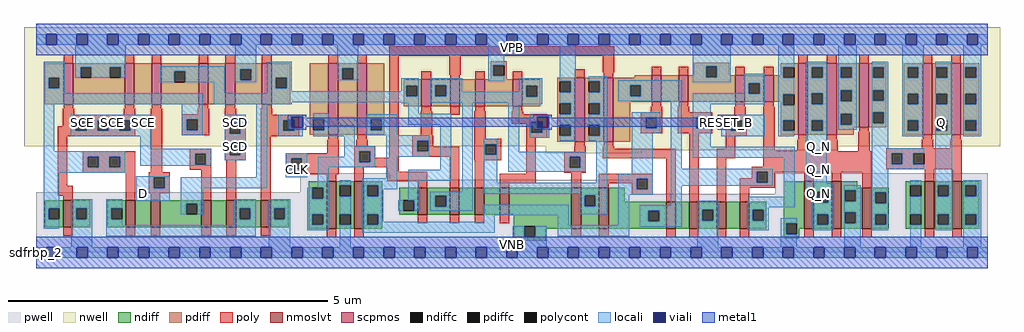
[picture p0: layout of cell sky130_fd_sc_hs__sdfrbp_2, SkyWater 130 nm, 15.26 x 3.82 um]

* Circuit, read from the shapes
.subckt sky130_fd_sc_hs__sdfrbp_2 CLK D RESET_B SCD SCE VGND VNB VPB VPWR Q Q_N
XM1 VGND SCE n1 VNB sky130_fd_pr__nfet_01v8_lvt w=0.42 l=0.15
XM2 n2 n1 n3 VNB sky130_fd_pr__nfet_01v8_lvt w=0.42 l=0.15
XM3 n4 D n2 VNB sky130_fd_pr__nfet_01v8_lvt w=0.42 l=0.15
XM4 n5 SCE n4 VNB sky130_fd_pr__nfet_01v8_lvt w=0.42 l=0.15
XM5 n3 SCD n5 VNB sky130_fd_pr__nfet_01v8_lvt w=0.42 l=0.15
XM6 VGND RESET_B n3 VNB sky130_fd_pr__nfet_01v8_lvt w=0.42 l=0.15
XM7 VGND CLK n6 VNB sky130_fd_pr__nfet_01v8_lvt w=0.74 l=0.15
XM8 n7 n6 VGND VNB sky130_fd_pr__nfet_01v8_lvt w=0.74 l=0.15
XM9 n8 n6 n4 VNB sky130_fd_pr__nfet_01v8_lvt w=0.42 l=0.15
XM10 n9 n7 n8 VNB sky130_fd_pr__nfet_01v8_lvt w=0.42 l=0.15
XM11 n10 n11 n9 VNB sky130_fd_pr__nfet_01v8_lvt w=0.42 l=0.15
XM12 VGND RESET_B n10 VNB sky130_fd_pr__nfet_01v8_lvt w=0.42 l=0.15
XM13 n11 n8 VGND VNB sky130_fd_pr__nfet_01v8_lvt w=0.64 l=0.15
XM14 n12 n7 n11 VNB sky130_fd_pr__nfet_01v8_lvt w=0.64 l=0.15
XM15 n13 n6 n12 VNB sky130_fd_pr__nfet_01v8_lvt w=0.42 l=0.15
XM16 VGND n14 n13 VNB sky130_fd_pr__nfet_01v8_lvt w=0.42 l=0.15
XM17 n15 RESET_B VGND VNB sky130_fd_pr__nfet_01v8_lvt w=0.42 l=0.15
XM18 n14 n12 n15 VNB sky130_fd_pr__nfet_01v8_lvt w=0.42 l=0.15
XM19 Q_N n12 VGND VNB sky130_fd_pr__nfet_01v8_lvt w=0.74 l=0.15 m=2
XM20 n16 n12 VGND VNB sky130_fd_pr__nfet_01v8_lvt w=0.64 l=0.15
XM21 Q n16 VGND VNB sky130_fd_pr__nfet_01v8_lvt w=0.74 l=0.15 m=2
XM22 VPWR SCE n1 VPB sky130_fd_pr__pfet_01v8 w=0.64 l=0.15
XM23 n17 SCE VPWR VPB sky130_fd_pr__pfet_01v8 w=0.64 l=0.15
XM24 n4 D n17 VPB sky130_fd_pr__pfet_01v8 w=0.64 l=0.15
XM25 n18 n1 n4 VPB sky130_fd_pr__pfet_01v8 w=0.64 l=0.15
XM26 VPWR SCD n18 VPB sky130_fd_pr__pfet_01v8 w=0.64 l=0.15
XM27 n4 RESET_B VPWR VPB sky130_fd_pr__pfet_01v8 w=0.64 l=0.15
XM28 VPWR CLK n6 VPB sky130_fd_pr__pfet_01v8 w=1.12 l=0.15
XM29 n7 n6 VPWR VPB sky130_fd_pr__pfet_01v8 w=1.12 l=0.15
XM30 n8 n7 n4 VPB sky130_fd_pr__pfet_01v8 w=0.42 l=0.15
XM31 n19 n6 n8 VPB sky130_fd_pr__pfet_01v8 w=0.42 l=0.15
XM32 VPWR n11 n19 VPB sky130_fd_pr__pfet_01v8 w=0.42 l=0.15
XM33 n8 RESET_B VPWR VPB sky130_fd_pr__pfet_01v8 w=0.42 l=0.15
XM34 n11 n8 VPWR VPB sky130_fd_pr__pfet_01v8 w=1 l=0.15
XM35 n12 n6 n11 VPB sky130_fd_pr__pfet_01v8 w=1 l=0.15
XM36 n20 n7 n12 VPB sky130_fd_pr__pfet_01v8 w=0.42 l=0.15
XM37 VPWR n14 n20 VPB sky130_fd_pr__pfet_01v8 w=0.42 l=0.15
XM38 n14 RESET_B VPWR VPB sky130_fd_pr__pfet_01v8 w=0.42 l=0.15
XM39 VPWR n12 n14 VPB sky130_fd_pr__pfet_01v8 w=0.42 l=0.15
XM40 Q_N n12 VPWR VPB sky130_fd_pr__pfet_01v8 w=1.12 l=0.15 m=2
XM41 n16 n12 VPWR VPB sky130_fd_pr__pfet_01v8 w=1 l=0.15
XM42 Q n16 VPWR VPB sky130_fd_pr__pfet_01v8 w=1.12 l=0.15 m=2
.ends

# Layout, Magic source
magic
tech sky130A
magscale 1 2
<< nwell >>
rect -38 332 3014 704
rect 1594 319 2508 332
rect 1594 311 1894 319
<< pwell >>
rect 826 228 1108 248
rect 826 189 1866 228
rect 1 184 1866 189
rect 2311 184 2975 248
rect 1 49 2975 184
rect 0 0 2976 49
<< scpmos >>
rect 86 464 116 592
rect 277 464 307 592
rect 361 464 391 592
rect 508 464 538 592
rect 592 464 622 592
rect 706 464 736 592
rect 914 368 944 592
rect 1004 368 1034 592
rect 1205 457 1235 541
rect 1295 457 1325 541
rect 1373 457 1403 541
rect 1490 457 1520 541
rect 1685 347 1715 547
rect 1775 347 1805 547
rect 1925 471 1955 555
rect 2009 471 2039 555
rect 2186 471 2216 555
rect 2276 471 2306 555
rect 2383 368 2413 592
rect 2473 368 2503 592
rect 2574 392 2604 592
rect 2772 368 2802 592
rect 2862 368 2892 592
<< nmoslvt >>
rect 84 79 114 163
rect 280 79 310 163
rect 358 79 388 163
rect 517 79 547 163
rect 595 79 625 163
rect 703 79 733 163
rect 909 74 939 222
rect 995 74 1025 222
rect 1193 118 1223 202
rect 1293 118 1323 202
rect 1371 118 1401 202
rect 1449 118 1479 202
rect 1674 74 1704 202
rect 1760 74 1790 202
rect 1970 74 2000 158
rect 2042 74 2072 158
rect 2128 74 2158 158
rect 2200 74 2230 158
rect 2402 74 2432 222
rect 2488 74 2518 222
rect 2583 74 2613 202
rect 2779 74 2809 222
rect 2865 74 2895 222
<< ndiff >>
rect 852 202 909 222
rect 852 168 864 202
rect 898 168 909 202
rect 27 138 84 163
rect 27 104 39 138
rect 73 104 84 138
rect 27 79 84 104
rect 114 138 169 163
rect 114 104 125 138
rect 159 104 169 138
rect 114 79 169 104
rect 223 138 280 163
rect 223 104 235 138
rect 269 104 280 138
rect 223 79 280 104
rect 310 79 358 163
rect 388 153 517 163
rect 388 119 470 153
rect 504 119 517 153
rect 388 79 517 119
rect 547 79 595 163
rect 625 138 703 163
rect 625 104 636 138
rect 670 104 703 138
rect 625 79 703 104
rect 733 138 790 163
rect 733 104 744 138
rect 778 104 790 138
rect 733 79 790 104
rect 852 120 909 168
rect 852 86 864 120
rect 898 86 909 120
rect 852 74 909 86
rect 939 210 995 222
rect 939 176 950 210
rect 984 176 995 210
rect 939 120 995 176
rect 939 86 950 120
rect 984 86 995 120
rect 939 74 995 86
rect 1025 210 1082 222
rect 1025 176 1036 210
rect 1070 176 1082 210
rect 1025 120 1082 176
rect 1025 86 1036 120
rect 1070 86 1082 120
rect 1136 164 1193 202
rect 1136 130 1148 164
rect 1182 130 1193 164
rect 1136 118 1193 130
rect 1223 177 1293 202
rect 1223 143 1248 177
rect 1282 143 1293 177
rect 1223 118 1293 143
rect 1323 118 1371 202
rect 1401 118 1449 202
rect 1479 118 1674 202
rect 1025 74 1082 86
rect 1494 82 1674 118
rect 1494 48 1526 82
rect 1560 74 1674 82
rect 1704 179 1760 202
rect 1704 145 1715 179
rect 1749 145 1760 179
rect 1704 74 1760 145
rect 1790 158 1840 202
rect 1790 131 1970 158
rect 1790 97 1914 131
rect 1948 97 1970 131
rect 1790 74 1970 97
rect 2000 74 2042 158
rect 2072 133 2128 158
rect 2072 99 2083 133
rect 2117 99 2128 133
rect 2072 74 2128 99
rect 2158 74 2200 158
rect 2230 133 2283 158
rect 2230 99 2241 133
rect 2275 99 2283 133
rect 2230 74 2283 99
rect 2337 91 2402 222
rect 1560 48 1593 74
rect 2337 57 2345 91
rect 2379 74 2402 91
rect 2432 190 2488 222
rect 2432 156 2443 190
rect 2477 156 2488 190
rect 2432 120 2488 156
rect 2432 86 2443 120
rect 2477 86 2488 120
rect 2432 74 2488 86
rect 2518 202 2568 222
rect 2720 210 2779 222
rect 2518 194 2583 202
rect 2518 160 2529 194
rect 2563 160 2583 194
rect 2518 126 2583 160
rect 2518 92 2529 126
rect 2563 92 2583 126
rect 2518 74 2583 92
rect 2613 188 2666 202
rect 2613 154 2624 188
rect 2658 154 2666 188
rect 2613 120 2666 154
rect 2613 86 2624 120
rect 2658 86 2666 120
rect 2613 74 2666 86
rect 2720 176 2734 210
rect 2768 176 2779 210
rect 2720 120 2779 176
rect 2720 86 2734 120
rect 2768 86 2779 120
rect 2720 74 2779 86
rect 2809 210 2865 222
rect 2809 176 2820 210
rect 2854 176 2865 210
rect 2809 120 2865 176
rect 2809 86 2820 120
rect 2854 86 2865 120
rect 2809 74 2865 86
rect 2895 210 2949 222
rect 2895 176 2906 210
rect 2940 176 2949 210
rect 2895 120 2949 176
rect 2895 86 2906 120
rect 2940 86 2949 120
rect 2895 74 2949 86
rect 2379 57 2387 74
rect 1494 36 1593 48
rect 2337 45 2387 57
<< pdiff >>
rect 27 547 86 592
rect 27 513 39 547
rect 73 513 86 547
rect 27 464 86 513
rect 116 580 277 592
rect 116 546 139 580
rect 173 546 230 580
rect 264 546 277 580
rect 116 464 277 546
rect 307 464 361 592
rect 391 566 508 592
rect 391 532 432 566
rect 466 532 508 566
rect 391 464 508 532
rect 538 464 592 592
rect 622 573 706 592
rect 622 539 639 573
rect 673 539 706 573
rect 622 464 706 539
rect 736 547 795 592
rect 736 513 749 547
rect 783 513 795 547
rect 736 464 795 513
rect 855 417 914 592
rect 855 383 867 417
rect 901 383 914 417
rect 855 368 914 383
rect 944 576 1004 592
rect 944 542 957 576
rect 991 542 1004 576
rect 944 368 1004 542
rect 1034 416 1089 592
rect 1034 382 1047 416
rect 1081 382 1089 416
rect 1034 368 1089 382
rect 1421 586 1472 598
rect 1421 552 1430 586
rect 1464 552 1472 586
rect 1421 541 1472 552
rect 2057 582 2168 594
rect 2057 555 2095 582
rect 1872 547 1925 555
rect 1149 522 1205 541
rect 1149 488 1158 522
rect 1192 488 1205 522
rect 1149 457 1205 488
rect 1235 523 1295 541
rect 1235 489 1248 523
rect 1282 489 1295 523
rect 1235 457 1295 489
rect 1325 457 1373 541
rect 1403 457 1490 541
rect 1520 521 1576 541
rect 1520 487 1533 521
rect 1567 487 1576 521
rect 1520 457 1576 487
rect 1630 535 1685 547
rect 1630 501 1638 535
rect 1672 501 1685 535
rect 1630 467 1685 501
rect 1630 433 1638 467
rect 1672 433 1685 467
rect 1630 399 1685 433
rect 1630 365 1638 399
rect 1672 365 1685 399
rect 1630 347 1685 365
rect 1715 535 1775 547
rect 1715 501 1728 535
rect 1762 501 1775 535
rect 1715 467 1775 501
rect 1715 433 1728 467
rect 1762 433 1775 467
rect 1715 399 1775 433
rect 1715 365 1728 399
rect 1762 365 1775 399
rect 1715 347 1775 365
rect 1805 523 1925 547
rect 1805 489 1857 523
rect 1891 489 1925 523
rect 1805 471 1925 489
rect 1955 471 2009 555
rect 2039 548 2095 555
rect 2129 555 2168 582
rect 2328 580 2383 592
rect 2328 555 2336 580
rect 2129 548 2186 555
rect 2039 471 2186 548
rect 2216 530 2276 555
rect 2216 496 2229 530
rect 2263 496 2276 530
rect 2216 471 2276 496
rect 2306 546 2336 555
rect 2370 546 2383 580
rect 2306 495 2383 546
rect 2306 471 2336 495
rect 1805 347 1858 471
rect 2328 461 2336 471
rect 2370 461 2383 495
rect 2328 414 2383 461
rect 2328 380 2336 414
rect 2370 380 2383 414
rect 2328 368 2383 380
rect 2413 580 2473 592
rect 2413 546 2426 580
rect 2460 546 2473 580
rect 2413 498 2473 546
rect 2413 464 2426 498
rect 2460 464 2473 498
rect 2413 414 2473 464
rect 2413 380 2426 414
rect 2460 380 2473 414
rect 2413 368 2473 380
rect 2503 580 2574 592
rect 2503 546 2516 580
rect 2550 546 2574 580
rect 2503 507 2574 546
rect 2503 473 2516 507
rect 2550 473 2574 507
rect 2503 434 2574 473
rect 2503 400 2516 434
rect 2550 400 2574 434
rect 2503 392 2574 400
rect 2604 580 2659 592
rect 2604 546 2617 580
rect 2651 546 2659 580
rect 2604 508 2659 546
rect 2604 474 2617 508
rect 2651 474 2659 508
rect 2604 438 2659 474
rect 2604 404 2617 438
rect 2651 404 2659 438
rect 2604 392 2659 404
rect 2713 580 2772 592
rect 2713 546 2725 580
rect 2759 546 2772 580
rect 2713 497 2772 546
rect 2713 463 2725 497
rect 2759 463 2772 497
rect 2713 414 2772 463
rect 2503 368 2556 392
rect 2713 380 2725 414
rect 2759 380 2772 414
rect 2713 368 2772 380
rect 2802 580 2862 592
rect 2802 546 2815 580
rect 2849 546 2862 580
rect 2802 497 2862 546
rect 2802 463 2815 497
rect 2849 463 2862 497
rect 2802 414 2862 463
rect 2802 380 2815 414
rect 2849 380 2862 414
rect 2802 368 2862 380
rect 2892 580 2949 592
rect 2892 546 2905 580
rect 2939 546 2949 580
rect 2892 497 2949 546
rect 2892 463 2905 497
rect 2939 463 2949 497
rect 2892 414 2949 463
rect 2892 380 2905 414
rect 2939 380 2949 414
rect 2892 368 2949 380
<< ndiffc >>
rect 864 168 898 202
rect 39 104 73 138
rect 125 104 159 138
rect 235 104 269 138
rect 470 119 504 153
rect 636 104 670 138
rect 744 104 778 138
rect 864 86 898 120
rect 950 176 984 210
rect 950 86 984 120
rect 1036 176 1070 210
rect 1036 86 1070 120
rect 1148 130 1182 164
rect 1248 143 1282 177
rect 1526 48 1560 82
rect 1715 145 1749 179
rect 1914 97 1948 131
rect 2083 99 2117 133
rect 2241 99 2275 133
rect 2345 57 2379 91
rect 2443 156 2477 190
rect 2443 86 2477 120
rect 2529 160 2563 194
rect 2529 92 2563 126
rect 2624 154 2658 188
rect 2624 86 2658 120
rect 2734 176 2768 210
rect 2734 86 2768 120
rect 2820 176 2854 210
rect 2820 86 2854 120
rect 2906 176 2940 210
rect 2906 86 2940 120
<< pdiffc >>
rect 39 513 73 547
rect 139 546 173 580
rect 230 546 264 580
rect 432 532 466 566
rect 639 539 673 573
rect 749 513 783 547
rect 867 383 901 417
rect 957 542 991 576
rect 1047 382 1081 416
rect 1430 552 1464 586
rect 1158 488 1192 522
rect 1248 489 1282 523
rect 1533 487 1567 521
rect 1638 501 1672 535
rect 1638 433 1672 467
rect 1638 365 1672 399
rect 1728 501 1762 535
rect 1728 433 1762 467
rect 1728 365 1762 399
rect 1857 489 1891 523
rect 2095 548 2129 582
rect 2229 496 2263 530
rect 2336 546 2370 580
rect 2336 461 2370 495
rect 2336 380 2370 414
rect 2426 546 2460 580
rect 2426 464 2460 498
rect 2426 380 2460 414
rect 2516 546 2550 580
rect 2516 473 2550 507
rect 2516 400 2550 434
rect 2617 546 2651 580
rect 2617 474 2651 508
rect 2617 404 2651 438
rect 2725 546 2759 580
rect 2725 463 2759 497
rect 2725 380 2759 414
rect 2815 546 2849 580
rect 2815 463 2849 497
rect 2815 380 2849 414
rect 2905 546 2939 580
rect 2905 463 2939 497
rect 2905 380 2939 414
<< poly >>
rect 86 592 116 618
rect 277 592 307 618
rect 361 592 391 618
rect 508 592 538 618
rect 592 592 622 618
rect 706 592 736 618
rect 914 592 944 618
rect 1004 592 1034 618
rect 1104 615 1808 645
rect 86 449 116 464
rect 277 449 307 464
rect 361 449 391 464
rect 508 449 538 464
rect 592 449 622 464
rect 706 449 736 464
rect 83 430 119 449
rect 274 430 310 449
rect 83 414 310 430
rect 83 394 124 414
rect 67 380 124 394
rect 158 380 192 414
rect 226 380 260 414
rect 294 380 310 414
rect 67 364 310 380
rect 67 208 97 364
rect 145 300 310 316
rect 145 266 161 300
rect 195 266 229 300
rect 263 266 310 300
rect 145 250 310 266
rect 358 251 394 449
rect 505 432 541 449
rect 455 416 541 432
rect 455 382 471 416
rect 505 382 541 416
rect 455 366 541 382
rect 589 422 625 449
rect 703 430 739 449
rect 589 406 655 422
rect 589 372 605 406
rect 639 372 655 406
rect 589 338 655 372
rect 481 308 547 324
rect 481 274 497 308
rect 531 274 547 308
rect 589 304 605 338
rect 639 304 655 338
rect 589 288 655 304
rect 703 414 823 430
rect 703 380 773 414
rect 807 380 823 414
rect 703 364 823 380
rect 481 258 547 274
rect 67 178 114 208
rect 84 163 114 178
rect 280 163 310 250
rect 352 235 418 251
rect 352 201 368 235
rect 402 201 418 235
rect 352 185 418 201
rect 358 163 388 185
rect 517 163 547 258
rect 595 163 625 288
rect 703 163 733 364
rect 914 353 944 368
rect 1004 353 1034 368
rect 911 310 947 353
rect 1001 332 1037 353
rect 781 294 947 310
rect 781 260 797 294
rect 831 260 947 294
rect 781 244 947 260
rect 995 316 1061 332
rect 995 282 1011 316
rect 1045 296 1061 316
rect 1104 296 1134 615
rect 1205 541 1235 567
rect 1292 556 1328 615
rect 1295 541 1325 556
rect 1373 541 1403 567
rect 1490 541 1520 567
rect 1685 547 1715 573
rect 1772 562 1808 615
rect 2383 592 2413 618
rect 2473 592 2503 618
rect 2574 592 2604 618
rect 2772 592 2802 618
rect 2862 592 2892 618
rect 1775 547 1805 562
rect 1925 555 1955 581
rect 2009 555 2039 581
rect 1205 442 1235 457
rect 1202 366 1238 442
rect 1295 431 1325 457
rect 1373 442 1403 457
rect 1490 442 1520 457
rect 1176 350 1242 366
rect 1176 316 1192 350
rect 1226 330 1242 350
rect 1370 355 1406 442
rect 1487 433 1523 442
rect 1487 409 1598 433
rect 1487 403 1548 409
rect 1532 375 1548 403
rect 1582 375 1598 409
rect 1532 359 1598 375
rect 1370 339 1454 355
rect 1226 316 1323 330
rect 1176 300 1323 316
rect 1045 282 1134 296
rect 995 266 1134 282
rect 909 222 939 244
rect 995 222 1025 266
rect 1098 252 1134 266
rect 1098 222 1223 252
rect 84 53 114 79
rect 280 53 310 79
rect 358 53 388 79
rect 517 53 547 79
rect 595 53 625 79
rect 703 53 733 79
rect 1193 202 1223 222
rect 1293 202 1323 300
rect 1370 305 1404 339
rect 1438 305 1454 339
rect 1370 289 1454 305
rect 1371 202 1401 289
rect 1532 247 1562 359
rect 2186 555 2216 581
rect 2276 555 2306 581
rect 1925 456 1955 471
rect 2009 456 2039 471
rect 2186 456 2216 471
rect 2276 456 2306 471
rect 1922 439 1958 456
rect 1890 423 1958 439
rect 1890 389 1906 423
rect 1940 389 1958 423
rect 1890 373 1958 389
rect 2006 439 2042 456
rect 2006 423 2114 439
rect 2183 430 2219 456
rect 2006 389 2064 423
rect 2098 389 2114 423
rect 2006 373 2114 389
rect 2156 414 2222 430
rect 2156 380 2172 414
rect 2206 380 2222 414
rect 1685 332 1715 347
rect 1775 332 1805 347
rect 1682 315 1718 332
rect 1652 299 1718 315
rect 1652 265 1668 299
rect 1702 265 1718 299
rect 1772 325 1808 332
rect 1772 295 2000 325
rect 1652 249 1718 265
rect 1449 217 1562 247
rect 1449 202 1479 217
rect 1674 202 1704 249
rect 1760 231 1928 247
rect 1760 217 1878 231
rect 1760 202 1790 217
rect 1193 92 1223 118
rect 1293 92 1323 118
rect 1371 92 1401 118
rect 1449 92 1479 118
rect 909 48 939 74
rect 995 48 1025 74
rect 1862 197 1878 217
rect 1912 197 1928 231
rect 1862 181 1928 197
rect 1970 158 2000 295
rect 2042 158 2072 373
rect 2156 364 2222 380
rect 2156 325 2186 364
rect 2128 295 2186 325
rect 2273 318 2309 456
rect 2574 377 2604 392
rect 2383 353 2413 368
rect 2473 353 2503 368
rect 2380 318 2416 353
rect 2273 317 2416 318
rect 2470 317 2506 353
rect 2571 317 2607 377
rect 2772 353 2802 368
rect 2862 353 2892 368
rect 2769 326 2805 353
rect 2859 326 2895 353
rect 2128 158 2158 295
rect 2273 268 2613 317
rect 2238 252 2613 268
rect 2659 310 2895 326
rect 2659 276 2675 310
rect 2709 276 2743 310
rect 2777 276 2895 310
rect 2659 260 2895 276
rect 2238 232 2254 252
rect 2200 218 2254 232
rect 2288 251 2613 252
rect 2288 218 2309 251
rect 2402 222 2432 251
rect 2488 222 2518 251
rect 2200 202 2309 218
rect 2200 158 2230 202
rect 1674 48 1704 74
rect 1760 48 1790 74
rect 1970 48 2000 74
rect 2042 48 2072 74
rect 2128 48 2158 74
rect 2200 48 2230 74
rect 2583 202 2613 251
rect 2779 222 2809 260
rect 2865 222 2895 260
rect 2402 48 2432 74
rect 2488 48 2518 74
rect 2583 48 2613 74
rect 2779 48 2809 74
rect 2865 48 2895 74
<< polycont >>
rect 124 380 158 414
rect 192 380 226 414
rect 260 380 294 414
rect 161 266 195 300
rect 229 266 263 300
rect 471 382 505 416
rect 605 372 639 406
rect 497 274 531 308
rect 605 304 639 338
rect 773 380 807 414
rect 368 201 402 235
rect 797 260 831 294
rect 1011 282 1045 316
rect 1192 316 1226 350
rect 1548 375 1582 409
rect 1404 305 1438 339
rect 1906 389 1940 423
rect 2064 389 2098 423
rect 2172 380 2206 414
rect 1668 265 1702 299
rect 1878 197 1912 231
rect 2675 276 2709 310
rect 2743 276 2777 310
rect 2254 218 2288 252
<< locali >>
rect 0 649 31 683
rect 65 649 127 683
rect 161 649 223 683
rect 257 649 319 683
rect 353 649 415 683
rect 449 649 511 683
rect 545 649 607 683
rect 641 649 703 683
rect 737 649 799 683
rect 833 649 895 683
rect 929 649 991 683
rect 1025 649 1087 683
rect 1121 649 1183 683
rect 1217 649 1279 683
rect 1313 649 1375 683
rect 1409 649 1471 683
rect 1505 649 1567 683
rect 1601 649 1663 683
rect 1697 649 1759 683
rect 1793 649 1855 683
rect 1889 649 1951 683
rect 1985 649 2047 683
rect 2081 649 2143 683
rect 2177 649 2239 683
rect 2273 649 2335 683
rect 2369 649 2431 683
rect 2465 649 2527 683
rect 2561 649 2623 683
rect 2657 649 2719 683
rect 2753 649 2815 683
rect 2849 649 2911 683
rect 2945 649 2976 683
rect 23 547 89 596
rect 23 513 39 547
rect 73 513 89 547
rect 123 580 280 649
rect 123 546 139 580
rect 173 546 230 580
rect 264 546 280 580
rect 388 566 589 582
rect 388 532 432 566
rect 466 532 589 566
rect 623 573 689 649
rect 623 539 639 573
rect 673 539 689 573
rect 623 532 689 539
rect 723 547 799 596
rect 23 498 89 513
rect 555 498 589 532
rect 723 513 749 547
rect 783 513 799 547
rect 941 576 1007 649
rect 941 542 957 576
rect 991 542 1007 576
rect 1414 586 1464 649
rect 1414 552 1430 586
rect 941 538 1007 542
rect 723 504 799 513
rect 1142 522 1197 545
rect 1142 504 1158 522
rect 723 498 1158 504
rect 23 464 521 498
rect 555 488 1158 498
rect 1192 488 1197 522
rect 555 470 1197 488
rect 555 464 799 470
rect 1142 466 1197 470
rect 1232 523 1332 545
rect 1414 536 1464 552
rect 1232 489 1248 523
rect 1282 502 1332 523
rect 1510 521 1583 545
rect 1510 502 1533 521
rect 1282 489 1533 502
rect 1232 487 1533 489
rect 1567 487 1583 521
rect 1232 468 1583 487
rect 23 316 57 464
rect 108 414 359 430
rect 108 380 124 414
rect 158 380 192 414
rect 226 380 260 414
rect 294 380 359 414
rect 108 364 359 380
rect 455 416 521 464
rect 455 382 471 416
rect 505 382 521 416
rect 455 366 521 382
rect 589 406 655 430
rect 589 372 605 406
rect 639 372 655 406
rect 325 324 359 364
rect 589 338 655 372
rect 23 300 279 316
rect 23 266 161 300
rect 195 266 229 300
rect 263 266 279 300
rect 325 308 547 324
rect 325 274 497 308
rect 531 274 547 308
rect 589 304 605 338
rect 639 304 655 338
rect 589 288 655 304
rect 325 272 547 274
rect 23 250 279 266
rect 23 138 73 250
rect 313 235 418 238
rect 689 235 723 464
rect 757 424 833 430
rect 757 414 799 424
rect 757 380 773 414
rect 807 380 833 390
rect 757 364 833 380
rect 867 417 917 436
rect 1163 434 1197 466
rect 901 398 917 417
rect 1031 416 1129 432
rect 901 383 997 398
rect 867 364 997 383
rect 1031 382 1047 416
rect 1081 382 1129 416
rect 1163 400 1298 434
rect 1031 366 1129 382
rect 963 332 997 364
rect 1095 350 1230 366
rect 963 316 1061 332
rect 781 294 847 310
rect 963 300 1011 316
rect 781 260 797 294
rect 831 260 847 294
rect 781 236 847 260
rect 881 282 1011 300
rect 1045 282 1061 316
rect 881 266 1061 282
rect 1095 316 1192 350
rect 1226 316 1230 350
rect 1095 300 1230 316
rect 313 201 368 235
rect 402 201 418 235
rect 23 104 39 138
rect 23 75 73 104
rect 109 138 175 167
rect 109 104 125 138
rect 159 104 175 138
rect 109 17 175 104
rect 219 138 269 167
rect 313 162 418 201
rect 452 201 723 235
rect 881 202 915 266
rect 1095 232 1129 300
rect 1264 258 1298 400
rect 219 104 235 138
rect 452 153 522 201
rect 848 168 864 202
rect 898 168 915 202
rect 452 119 470 153
rect 504 119 522 153
rect 620 138 686 167
rect 219 85 269 104
rect 620 104 636 138
rect 670 104 686 138
rect 620 85 686 104
rect 219 51 686 85
rect 728 138 794 167
rect 728 104 744 138
rect 778 104 794 138
rect 728 17 794 104
rect 848 120 915 168
rect 848 86 864 120
rect 898 86 915 120
rect 848 70 915 86
rect 950 210 984 226
rect 950 120 984 176
rect 950 17 984 86
rect 1020 210 1129 232
rect 1020 176 1036 210
rect 1070 198 1129 210
rect 1164 224 1298 258
rect 1070 176 1086 198
rect 1020 120 1086 176
rect 1164 164 1198 224
rect 1332 190 1366 468
rect 1476 464 1583 468
rect 1638 535 1688 649
rect 2053 582 2172 649
rect 1672 501 1688 535
rect 1638 467 1688 501
rect 1132 130 1148 164
rect 1182 130 1198 164
rect 1232 177 1366 190
rect 1400 339 1442 355
rect 1400 305 1404 339
rect 1438 305 1442 339
rect 1400 218 1442 305
rect 1476 315 1510 464
rect 1672 433 1688 467
rect 1544 424 1604 430
rect 1544 409 1567 424
rect 1544 375 1548 409
rect 1601 390 1604 424
rect 1582 375 1604 390
rect 1544 359 1604 375
rect 1638 399 1688 433
rect 1672 365 1688 399
rect 1638 349 1688 365
rect 1728 535 1786 551
rect 2053 548 2095 582
rect 2129 548 2172 582
rect 2320 580 2370 649
rect 1762 501 1786 535
rect 1728 467 1786 501
rect 1820 523 2019 539
rect 2053 532 2172 548
rect 1820 489 1857 523
rect 1891 489 2019 523
rect 2213 530 2279 559
rect 2213 498 2229 530
rect 1820 473 2019 489
rect 1762 433 1786 467
rect 1728 399 1786 433
rect 1762 365 1786 399
rect 1728 349 1786 365
rect 1476 299 1718 315
rect 1476 265 1668 299
rect 1702 265 1718 299
rect 1476 252 1718 265
rect 1752 218 1786 349
rect 1862 423 1951 439
rect 1862 389 1906 423
rect 1940 389 1951 423
rect 1862 373 1951 389
rect 1862 247 1928 373
rect 1400 184 1786 218
rect 1232 143 1248 177
rect 1282 143 1366 177
rect 1699 179 1786 184
rect 1232 130 1366 143
rect 1020 86 1036 120
rect 1070 96 1086 120
rect 1400 116 1665 150
rect 1699 145 1715 179
rect 1749 145 1786 179
rect 1699 119 1786 145
rect 1820 231 1928 247
rect 1820 197 1878 231
rect 1912 197 1928 231
rect 1820 181 1928 197
rect 1985 262 2019 473
rect 2053 496 2229 498
rect 2263 496 2279 530
rect 2053 464 2279 496
rect 2320 546 2336 580
rect 2320 495 2370 546
rect 2053 423 2109 464
rect 2320 461 2336 495
rect 2053 389 2064 423
rect 2098 389 2109 423
rect 2053 330 2109 389
rect 2143 424 2279 430
rect 2177 414 2279 424
rect 2143 380 2172 390
rect 2206 380 2279 414
rect 2143 364 2279 380
rect 2320 414 2370 461
rect 2320 380 2336 414
rect 2320 364 2370 380
rect 2406 580 2472 596
rect 2406 546 2426 580
rect 2460 546 2472 580
rect 2406 498 2472 546
rect 2406 464 2426 498
rect 2460 464 2472 498
rect 2406 414 2472 464
rect 2406 380 2426 414
rect 2460 380 2472 414
rect 2508 580 2566 649
rect 2508 546 2516 580
rect 2550 546 2566 580
rect 2508 507 2566 546
rect 2508 473 2516 507
rect 2550 473 2566 507
rect 2508 434 2566 473
rect 2508 400 2516 434
rect 2550 400 2566 434
rect 2508 384 2566 400
rect 2613 580 2665 596
rect 2613 546 2617 580
rect 2651 546 2665 580
rect 2613 508 2665 546
rect 2613 474 2617 508
rect 2651 474 2665 508
rect 2613 438 2665 474
rect 2613 404 2617 438
rect 2651 404 2665 438
rect 2053 296 2372 330
rect 1985 252 2304 262
rect 1985 218 2254 252
rect 2288 218 2304 252
rect 1985 209 2304 218
rect 1400 96 1434 116
rect 1070 86 1434 96
rect 1020 62 1434 86
rect 1631 85 1665 116
rect 1820 85 1854 181
rect 1985 147 2019 209
rect 2338 175 2372 296
rect 2406 217 2472 380
rect 2613 326 2665 404
rect 2709 580 2775 649
rect 2709 546 2725 580
rect 2759 546 2775 580
rect 2709 497 2775 546
rect 2709 463 2725 497
rect 2759 463 2775 497
rect 2709 414 2775 463
rect 2709 380 2725 414
rect 2759 380 2775 414
rect 2709 364 2775 380
rect 2811 580 2865 596
rect 2811 546 2815 580
rect 2849 546 2865 580
rect 2811 497 2865 546
rect 2811 463 2815 497
rect 2849 463 2865 497
rect 2811 414 2865 463
rect 2811 380 2815 414
rect 2849 380 2865 414
rect 2613 310 2777 326
rect 2613 276 2675 310
rect 2709 276 2743 310
rect 2613 260 2777 276
rect 2406 190 2493 217
rect 2406 183 2443 190
rect 1490 48 1526 82
rect 1560 48 1597 82
rect 1631 51 1854 85
rect 1888 131 2019 147
rect 1888 97 1914 131
rect 1948 97 2019 131
rect 1888 81 2019 97
rect 2067 133 2133 162
rect 2067 99 2083 133
rect 2117 99 2133 133
rect 1490 17 1597 48
rect 2067 17 2133 99
rect 2225 141 2372 175
rect 2427 156 2443 183
rect 2477 156 2493 190
rect 2225 133 2291 141
rect 2225 99 2241 133
rect 2275 99 2291 133
rect 2427 120 2493 156
rect 2225 70 2291 99
rect 2329 91 2379 107
rect 2329 57 2345 91
rect 2427 86 2443 120
rect 2477 86 2493 120
rect 2427 70 2493 86
rect 2527 194 2579 210
rect 2527 160 2529 194
rect 2563 160 2579 194
rect 2527 126 2579 160
rect 2527 92 2529 126
rect 2563 92 2579 126
rect 2329 17 2379 57
rect 2527 17 2579 92
rect 2613 188 2665 260
rect 2613 154 2624 188
rect 2658 154 2665 188
rect 2613 120 2665 154
rect 2613 86 2624 120
rect 2658 86 2665 120
rect 2613 70 2665 86
rect 2734 210 2768 226
rect 2734 120 2768 176
rect 2734 17 2768 86
rect 2811 210 2865 380
rect 2899 580 2955 649
rect 2899 546 2905 580
rect 2939 546 2955 580
rect 2899 497 2955 546
rect 2899 463 2905 497
rect 2939 463 2955 497
rect 2899 414 2955 463
rect 2899 380 2905 414
rect 2939 380 2955 414
rect 2899 364 2955 380
rect 2811 176 2820 210
rect 2854 176 2865 210
rect 2811 120 2865 176
rect 2811 86 2820 120
rect 2854 86 2865 120
rect 2811 70 2865 86
rect 2899 210 2956 226
rect 2899 176 2906 210
rect 2940 176 2956 210
rect 2899 120 2956 176
rect 2899 86 2906 120
rect 2940 86 2956 120
rect 2899 17 2956 86
rect 0 -17 31 17
rect 65 -17 127 17
rect 161 -17 223 17
rect 257 -17 319 17
rect 353 -17 415 17
rect 449 -17 511 17
rect 545 -17 607 17
rect 641 -17 703 17
rect 737 -17 799 17
rect 833 -17 895 17
rect 929 -17 991 17
rect 1025 -17 1087 17
rect 1121 -17 1183 17
rect 1217 -17 1279 17
rect 1313 -17 1375 17
rect 1409 -17 1471 17
rect 1505 -17 1567 17
rect 1601 -17 1663 17
rect 1697 -17 1759 17
rect 1793 -17 1855 17
rect 1889 -17 1951 17
rect 1985 -17 2047 17
rect 2081 -17 2143 17
rect 2177 -17 2239 17
rect 2273 -17 2335 17
rect 2369 -17 2431 17
rect 2465 -17 2527 17
rect 2561 -17 2623 17
rect 2657 -17 2719 17
rect 2753 -17 2815 17
rect 2849 -17 2911 17
rect 2945 -17 2976 17
<< viali >>
rect 31 649 65 683
rect 127 649 161 683
rect 223 649 257 683
rect 319 649 353 683
rect 415 649 449 683
rect 511 649 545 683
rect 607 649 641 683
rect 703 649 737 683
rect 799 649 833 683
rect 895 649 929 683
rect 991 649 1025 683
rect 1087 649 1121 683
rect 1183 649 1217 683
rect 1279 649 1313 683
rect 1375 649 1409 683
rect 1471 649 1505 683
rect 1567 649 1601 683
rect 1663 649 1697 683
rect 1759 649 1793 683
rect 1855 649 1889 683
rect 1951 649 1985 683
rect 2047 649 2081 683
rect 2143 649 2177 683
rect 2239 649 2273 683
rect 2335 649 2369 683
rect 2431 649 2465 683
rect 2527 649 2561 683
rect 2623 649 2657 683
rect 2719 649 2753 683
rect 2815 649 2849 683
rect 2911 649 2945 683
rect 799 414 833 424
rect 799 390 807 414
rect 807 390 833 414
rect 1567 409 1601 424
rect 1567 390 1582 409
rect 1582 390 1601 409
rect 2143 414 2177 424
rect 2143 390 2172 414
rect 2172 390 2177 414
rect 31 -17 65 17
rect 127 -17 161 17
rect 223 -17 257 17
rect 319 -17 353 17
rect 415 -17 449 17
rect 511 -17 545 17
rect 607 -17 641 17
rect 703 -17 737 17
rect 799 -17 833 17
rect 895 -17 929 17
rect 991 -17 1025 17
rect 1087 -17 1121 17
rect 1183 -17 1217 17
rect 1279 -17 1313 17
rect 1375 -17 1409 17
rect 1471 -17 1505 17
rect 1567 -17 1601 17
rect 1663 -17 1697 17
rect 1759 -17 1793 17
rect 1855 -17 1889 17
rect 1951 -17 1985 17
rect 2047 -17 2081 17
rect 2143 -17 2177 17
rect 2239 -17 2273 17
rect 2335 -17 2369 17
rect 2431 -17 2465 17
rect 2527 -17 2561 17
rect 2623 -17 2657 17
rect 2719 -17 2753 17
rect 2815 -17 2849 17
rect 2911 -17 2945 17
<< metal1 >>
rect 0 683 2976 715
rect 0 649 31 683
rect 65 649 127 683
rect 161 649 223 683
rect 257 649 319 683
rect 353 649 415 683
rect 449 649 511 683
rect 545 649 607 683
rect 641 649 703 683
rect 737 649 799 683
rect 833 649 895 683
rect 929 649 991 683
rect 1025 649 1087 683
rect 1121 649 1183 683
rect 1217 649 1279 683
rect 1313 649 1375 683
rect 1409 649 1471 683
rect 1505 649 1567 683
rect 1601 649 1663 683
rect 1697 649 1759 683
rect 1793 649 1855 683
rect 1889 649 1951 683
rect 1985 649 2047 683
rect 2081 649 2143 683
rect 2177 649 2239 683
rect 2273 649 2335 683
rect 2369 649 2431 683
rect 2465 649 2527 683
rect 2561 649 2623 683
rect 2657 649 2719 683
rect 2753 649 2815 683
rect 2849 649 2911 683
rect 2945 649 2976 683
rect 0 617 2976 649
rect 787 424 845 430
rect 787 390 799 424
rect 833 421 845 424
rect 1555 424 1613 430
rect 1555 421 1567 424
rect 833 393 1567 421
rect 833 390 845 393
rect 787 384 845 390
rect 1555 390 1567 393
rect 1601 421 1613 424
rect 2131 424 2189 430
rect 2131 421 2143 424
rect 1601 393 2143 421
rect 1601 390 1613 393
rect 1555 384 1613 390
rect 2131 390 2143 393
rect 2177 390 2189 424
rect 2131 384 2189 390
rect 0 17 2976 49
rect 0 -17 31 17
rect 65 -17 127 17
rect 161 -17 223 17
rect 257 -17 319 17
rect 353 -17 415 17
rect 449 -17 511 17
rect 545 -17 607 17
rect 641 -17 703 17
rect 737 -17 799 17
rect 833 -17 895 17
rect 929 -17 991 17
rect 1025 -17 1087 17
rect 1121 -17 1183 17
rect 1217 -17 1279 17
rect 1313 -17 1375 17
rect 1409 -17 1471 17
rect 1505 -17 1567 17
rect 1601 -17 1663 17
rect 1697 -17 1759 17
rect 1793 -17 1855 17
rect 1889 -17 1951 17
rect 1985 -17 2047 17
rect 2081 -17 2143 17
rect 2177 -17 2239 17
rect 2273 -17 2335 17
rect 2369 -17 2431 17
rect 2465 -17 2527 17
rect 2561 -17 2623 17
rect 2657 -17 2719 17
rect 2753 -17 2815 17
rect 2849 -17 2911 17
rect 2945 -17 2976 17
rect 0 -49 2976 -17
<< labels >>
rlabel comment s 0 0 0 0 4 sdfrbp_2
flabel pwell s 0 0 2976 49 0 FreeSans 200 0 0 0 VNB
port 7 nsew ground bidirectional
flabel nwell s 0 617 2976 666 0 FreeSans 200 0 0 0 VPB
port 8 nsew power bidirectional
flabel metal1 s 2143 390 2177 424 0 FreeSans 340 0 0 0 RESET_B
port 3 nsew signal input
flabel metal1 s 0 617 2976 666 0 FreeSans 340 0 0 0 VPWR
port 9 nsew power bidirectional
flabel metal1 s 0 0 2976 49 0 FreeSans 340 0 0 0 VGND
port 6 nsew ground bidirectional
flabel locali s 319 168 353 202 0 FreeSans 340 0 0 0 D
port 2 nsew signal input
flabel locali s 799 242 833 276 0 FreeSans 340 0 0 0 CLK
port 1 nsew clock input
flabel locali s 127 390 161 424 0 FreeSans 340 0 0 0 SCE
port 5 nsew signal input
flabel locali s 223 390 257 424 0 FreeSans 340 0 0 0 SCE
port 5 nsew signal input
flabel locali s 319 390 353 424 0 FreeSans 340 0 0 0 SCE
port 5 nsew signal input
flabel locali s 607 316 641 350 0 FreeSans 340 0 0 0 SCD
port 4 nsew signal input
flabel locali s 607 390 641 424 0 FreeSans 340 0 0 0 SCD
port 4 nsew signal input
flabel locali s 2815 390 2849 424 0 FreeSans 340 0 0 0 Q
port 10 nsew signal output
flabel locali s 2431 168 2465 202 0 FreeSans 340 0 0 0 Q_N
port 11 nsew signal output
flabel locali s 2431 242 2465 276 0 FreeSans 340 0 0 0 Q_N
port 11 nsew signal output
flabel locali s 2431 316 2465 350 0 FreeSans 340 0 0 0 Q_N
port 11 nsew signal output
<< properties >>
string LEFsite unit
string LEFclass CORE
string FIXED_BBOX 0 0 2976 666
string GDS_FILE $PDKPATH/libs.ref/sky130_fd_sc_hs/gds/sky130_fd_sc_hs.gds
string LEFsymmetry X Y R90
string GDS_END 3555566
string GDS_START 3533824
<< end >>
